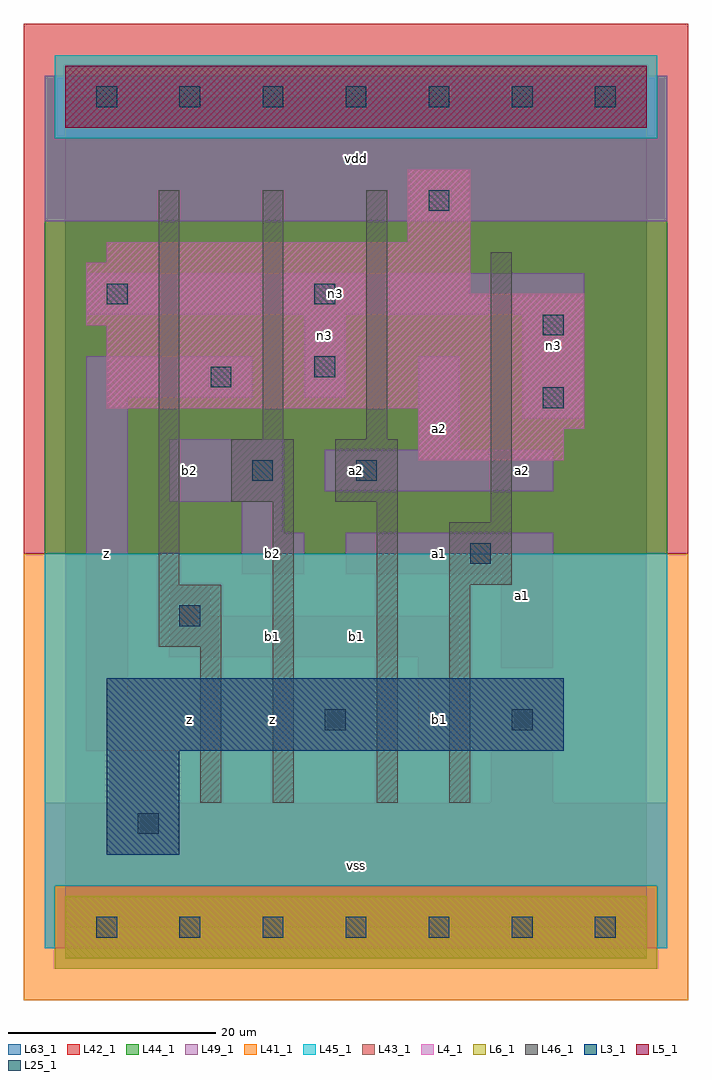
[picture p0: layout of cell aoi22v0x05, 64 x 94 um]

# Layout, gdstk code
import gdstk
lib = gdstk.Library(unit=1e-6, precision=1e-09)
def R(c, l, rs):  # rectangles x0, y0, x1, y1
    for r in rs: c.add(gdstk.rectangle(r[:2], r[2:], *l))
def A(c, l, x, y, w, h, nx, ny, dx, dy):  # array of equal rectangles
    R(c, l, [(x+i*dx, y+j*dy, x+i*dx+w, y+j*dy+h) for i in range(nx) for j in range(ny)])
L3_1 = (3, 1)
L4_1 = (4, 1)
L5_1 = (5, 1)
L6_1 = (6, 1)
L25_1 = (25, 1)
L41_1 = (41, 1)
L42_1 = (42, 1)
L43_1 = (43, 1)
L44_1 = (44, 1)
L45_1 = (45, 1)
L46_1 = (46, 1)
L49_1 = (49, 1)
L63_1 = (63, 1)

aoi22v0x05 = lib.new_cell('aoi22v0x05')
R(aoi22v0x05, L3_1, [(4,7,11,17), (4,17,48,24)])
R(aoi22v0x05, L4_1, [(34,45,48,48), (34,48,50,50), (4,50,50,58), (2,58,50,61), (2,61,39,64), (4,64,39,66), (33,66,39,73)])
R(aoi22v0x05, L5_1, [(0,77,56,83)])
R(aoi22v0x05, L6_1, [(0,-3,56,3), (0,-3,56,3)])
A(aoi22v0x05, L25_1, 3, -1, 2, 2, 7, 2, 8, 80)
R(aoi22v0x05, L25_1, [(7,9,9,11), (25,19,27,21), (43,19,45,21), (11,29,13,31), (39,35,41,37), (18,43,20,45), (28,43,30,45), (46,50,48,52), (14,52,16,54), (24,53,26,55), (46,57,48,59), (4,60,6,62), (24,60,26,62), (35,69,37,71)])
R(aoi22v0x05, L41_1, [(-4,-7,60,36)])
R(aoi22v0x05, L42_1, [(-4,36,60,87)])
R(aoi22v0x05, L43_1, [(0,-3,56,3), (4,7,11,17), (4,17,48,24), (34,45,48,48), (34,48,50,50), (4,50,50,58), (2,58,50,61), (2,61,39,64), (4,64,39,66), (33,66,39,73), (0,77,56,83)])
R(aoi22v0x05, L44_1, [(-1,-4,57,4), (-2,36,58,76), (-2,76,-1,82), (57,76,58,82)])
R(aoi22v0x05, L45_1, [(-2,-2,-1,4), (57,-2,58,4), (-2,4,58,36), (-1,76,57,84)])
R(aoi22v0x05, L46_1, [(13,12,15,27), (20,12,22,41), (30,12,32,41), (37,12,39,33), (9,27,15,33), (9,33,11,71), (37,33,43,39), (41,39,43,65), (16,41,22,47), (26,41,32,47), (19,47,21,71), (29,47,31,71)])
R(aoi22v0x05, L49_1, [(-2,-2,58,12), (41,12,47,22), (2,17,29,22), (34,17,38,26), (2,22,6,51), (42,25,47,34), (10,26,38,30), (10,30,14,33), (17,34,23,38), (27,34,47,38), (17,38,21,41), (10,41,21,47), (25,42,47,46), (34,46,38,55), (44,49,50,59), (2,51,18,55), (23,51,27,59), (2,59,50,63), (-2,68,58,82)])
R(aoi22v0x05, L63_1, [(0,0,56,80)])
aoi22v0x05.add(gdstk.Label('z', (4,36), layer=49, texttype=1))
aoi22v0x05.add(gdstk.Label('z', (12,20), layer=49, texttype=1))
aoi22v0x05.add(gdstk.Label('b2', (12,44), layer=49, texttype=1))
aoi22v0x05.add(gdstk.Label('vss', (28,6), layer=49, texttype=1))
aoi22v0x05.add(gdstk.Label('z', (20,20), layer=49, texttype=1))
aoi22v0x05.add(gdstk.Label('b1', (20,28), layer=49, texttype=1))
aoi22v0x05.add(gdstk.Label('b1', (28,28), layer=49, texttype=1))
aoi22v0x05.add(gdstk.Label('b2', (20,36), layer=49, texttype=1))
aoi22v0x05.add(gdstk.Label('a2', (28,44), layer=49, texttype=1))
aoi22v0x05.add(gdstk.Label('n3', (25,57), layer=49, texttype=1))
aoi22v0x05.add(gdstk.Label('vdd', (28,74), layer=49, texttype=1))
aoi22v0x05.add(gdstk.Label('b1', (36,20), layer=49, texttype=1))
aoi22v0x05.add(gdstk.Label('a1', (44,32), layer=49, texttype=1))
aoi22v0x05.add(gdstk.Label('a1', (36,36), layer=49, texttype=1))
aoi22v0x05.add(gdstk.Label('a2', (44,44), layer=49, texttype=1))
aoi22v0x05.add(gdstk.Label('a2', (36,48), layer=49, texttype=1))
aoi22v0x05.add(gdstk.Label('n3', (47,56), layer=49, texttype=1))
aoi22v0x05.add(gdstk.Label('n3', (26,61), layer=49, texttype=1))

lib.write_gds('aoi22v0x05.gds')
